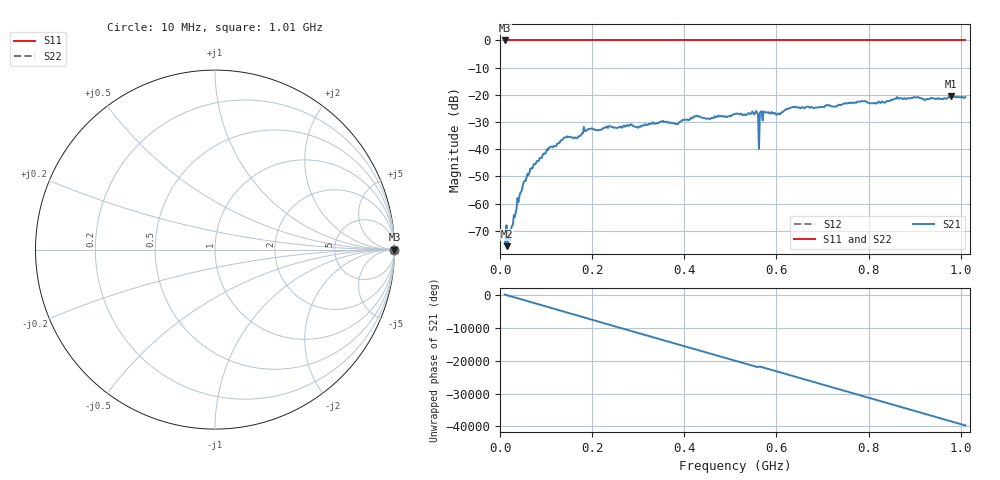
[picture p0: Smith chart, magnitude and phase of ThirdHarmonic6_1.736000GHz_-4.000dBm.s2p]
! 8/16/2025 8:54:59 PM
! C:\ANRITSUVNA\TEMP\TEMP.S2P
! CHANNEL.1
! TR.MEASUREMENT
! RAW.DATA
! RF.CORRECTION.OFF
! AVERAGING.OFF
! IF.BANDWIDTH: 5KHZ
! SWEEPTYPE:  FREQ.SWEEP(Linear)
! Reference Plane Port Info
! PORT:  PORT1  PORT2
! DISTANCE:  0  m  0  m
! TIME:  0  s  0  s
! PHASE.OFFSET:  0  deg.  0  deg.
! LOSS:  0  dB  0  dB
! REF.LOSS:  0  dB  0  dB
! REF.FREQ:  0  Hz  0  Hz
! Power Info
! POWER:  -20  dBm  -20  dBm
! EFF.POWER:  -20  dBm  -20  dBm
! SOURCE.ATTEN:  0  dB  0  dB
! TEST.ATTEN:  0  dB  0  dB
# GHZ S RI R 50.0
! FREQ.GHZ  S11RE  S11IM  S21RE  S21IM  S12RE  S12IM  S22RE  S22IM
!; PortSelection: Port_12
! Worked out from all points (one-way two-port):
!   501 points, 10 MHz to 1.01 GHz, reference 50 ohm
!   highest |S21| = -20.54 dB at 978 MHz (marker M1); lowest = -75.7 dB at 16 MHz (marker M2)
!   lowest |S11| = 0.0 dB at 10 MHz (marker M3)
!   |S11| at or under -10 dB: nowhere
!   |S22| runs from 0.0 to 0.0 dB; largest |S21 - S12| = 1.1
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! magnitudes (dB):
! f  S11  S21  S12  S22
! 10 MHz  0.0  -74.7  0.0  0.0
! 16 MHz  0.0  -75.7  0.0  0.0
! 24 MHz  0.0  -69.4  0.0  0.0
! 48 MHz  0.0  -54.8  0.0  0.0
! 70 MHz  0.0  -47.2  0.0  0.0
! 106 MHz  0.0  -39.6  0.0  0.0
! 142 MHz  0.0  -35.7  0.0  0.0
! 164 MHz  0.0  -35.7  0.0  0.0
! 178 MHz  0.0  -34.2  0.0  0.0
! 344 MHz  0.0  -30.4  0.0  0.0
! 510 MHz  0.0  -27.0  0.0  0.0
! 554 MHz  0.0  -26.7  0.0  0.0
! 556 MHz  0.0  -26.0  0.0  0.0
! 558 MHz  0.0  -26.5  0.0  0.0
! 566 MHz  0.0  -26.2  0.0  0.0
! 568 MHz  0.0  -26.1  0.0  0.0
! 576 MHz  0.0  -26.4  0.0  0.0
! 604 MHz  0.0  -26.8  0.0  0.0
! 678 MHz  0.0  -24.6  0.0  0.0
! 844 MHz  0.0  -22.3  0.0  0.0
! 978 MHz  0.0  -20.5  0.0  0.0
! 1.01 GHz  0.0  -20.8  0.0  0.0
